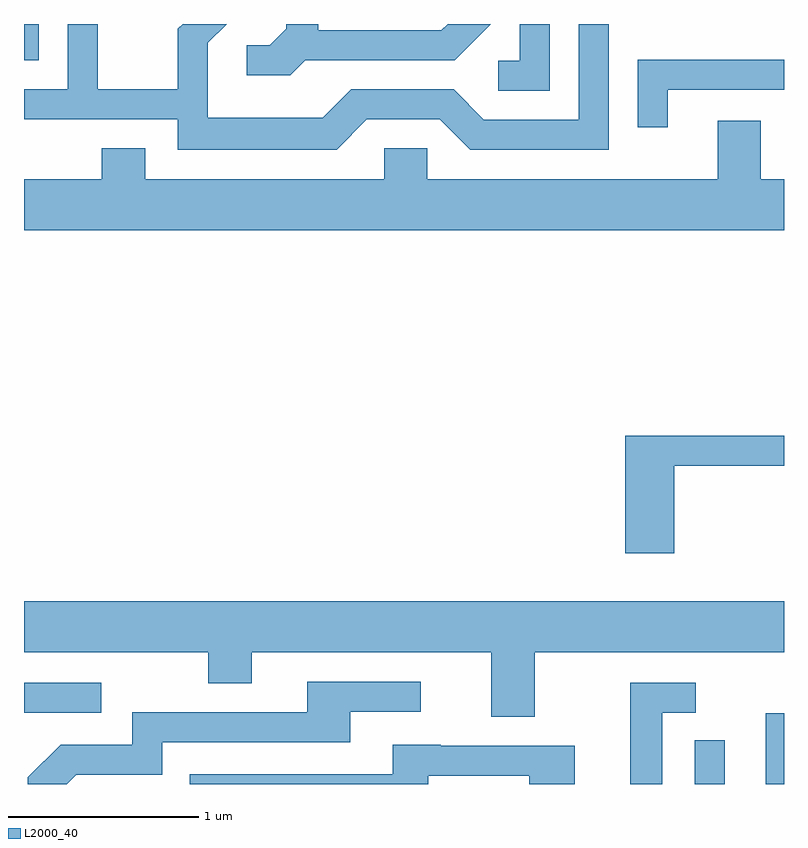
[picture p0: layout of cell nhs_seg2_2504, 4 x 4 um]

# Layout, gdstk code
import gdstk
lib = gdstk.Library(unit=1e-6, precision=1e-09)
def R(c, l, rs):  # rectangles x0, y0, x1, y1
    for r in rs: c.add(gdstk.rectangle(r[:2], r[2:], *l))
def P(c, l, *ps):  # polygons
    for p in ps: c.add(gdstk.Polygon(p, *l))
L2000_40 = (2000, 40)

nhs_seg2_2504 = lib.new_cell('nhs_seg2_2504')
R(nhs_seg2_2504, L2000_40, [(261.141,1089.802,261.299,1090.033), (261.516,1089.802,261.611,1090.174), (257.611,1090.176,258.017,1090.334), (257.611,1093.611,257.689,1093.802)])
P(nhs_seg2_2504, L2000_40, [(259.092,1093.611),(259.877,1093.611),(260.067,1093.802),(259.841,1093.802),(259.808,1093.769),(259.159,1093.769),(259.159,1093.802),(258.991,1093.802),(258.991,1093.777),(258.904,1093.689),(258.783,1093.689),(258.783,1093.531),(259.012,1093.531)],
  [(259.416,1093.301),(259.799,1093.301),(259.959,1093.141),(260.689,1093.141),(260.689,1093.802),(260.531,1093.802),(260.531,1093.299),(260.032,1093.299),(259.872,1093.459),(259.334,1093.459),(259.183,1093.309),(258.579,1093.309),(258.579,1093.704),(258.677,1093.802),(258.446,1093.802),(258.421,1093.777),(258.421,1093.459),(257.999,1093.459),(257.999,1093.802),(257.841,1093.802),(257.841,1093.459),(257.611,1093.459),(257.611,1093.301),(258.421,1093.301),(258.421,1093.141),(259.257,1093.141)],
  [(260.379,1093.802),(260.221,1093.802),(260.221,1093.609),(260.108,1093.609),(260.108,1093.451),(260.379,1093.451)],
  [(260.999,1093.456),(261.611,1093.456),(261.611,1093.614),(260.841,1093.614),(260.841,1093.258),(260.999,1093.258)],
  [(261.611,1092.984),(261.489,1092.984),(261.489,1093.294),(261.261,1093.294),(261.261,1092.984),(259.734,1092.984),(259.734,1093.149),(259.506,1093.149),(259.506,1092.984),(258.249,1092.984),(258.249,1093.149),(258.021,1093.149),(258.021,1092.984),(257.611,1092.984),(257.611,1092.716),(261.611,1092.716)],
  [(261.034,1091.476),(261.611,1091.476),(261.611,1091.634),(260.776,1091.634),(260.776,1091.016),(261.034,1091.016)],
  [(260.299,1090.496),(261.611,1090.496),(261.611,1090.764),(257.611,1090.764),(257.611,1090.496),(258.581,1090.496),(258.581,1090.331),(258.809,1090.331),(258.809,1090.496),(260.071,1090.496),(260.071,1090.156),(260.299,1090.156)],
  [(257.887,1089.851),(258.339,1089.851),(258.339,1090.021),(259.329,1090.021),(259.329,1090.181),(259.698,1090.181),(259.698,1090.339),(259.101,1090.339),(259.101,1090.179),(258.181,1090.179),(258.181,1090.009),(257.804,1090.009),(257.631,1089.837),(257.631,1089.802),(257.837,1089.802)],
  [(260.969,1090.176),(261.147,1090.176),(261.147,1090.334),(260.801,1090.334),(260.801,1089.802),(260.969,1089.802)],
  [(259.739,1089.846),(260.271,1089.846),(260.271,1089.802),(260.509,1089.802),(260.509,1090.004),(259.805,1090.004),(259.805,1090.009),(259.551,1090.009),(259.551,1089.854),(258.483,1089.854),(258.483,1089.802),(259.739,1089.802)])

lib.write_gds('nhs_seg2_2504.gds')
